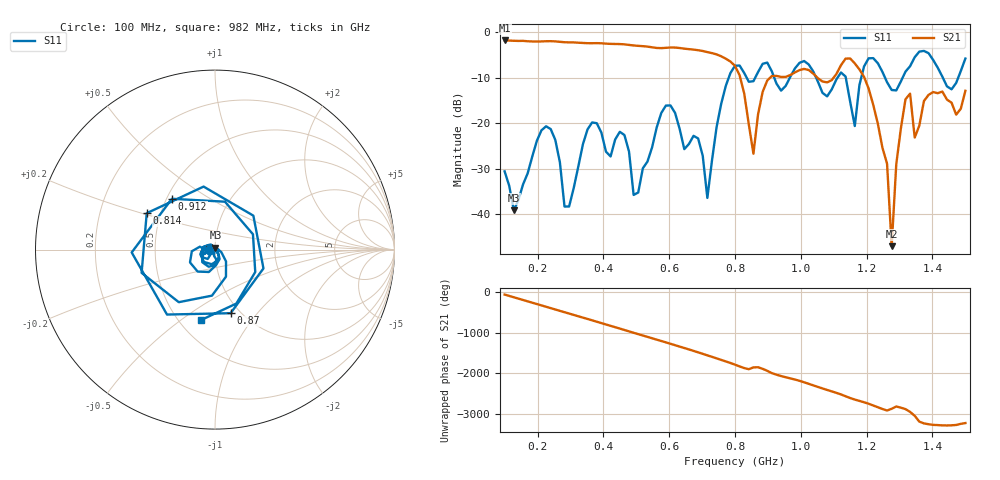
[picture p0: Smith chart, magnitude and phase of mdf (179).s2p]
! NanoVNA-App
! Date: 2025-09-26 09:41:08
! Start: 100MHz Stop: 1,5GHz Points: 101
! S-Parameter data: F S11 S21 S12 S22
# Hz S RI R 50
!  Frequency  S11_Real  S11_Imag  S21_Real  S21_Imag  S12_Real  S12_Imag  S22_Real  S22_Imag
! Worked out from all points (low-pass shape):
!   101 points, 100 MHz to 1.5 GHz, reference 50 ohm
!   highest |S21| = -1.79 dB at 100 MHz (marker M1); lowest = -47.1 dB at 1.276 GHz (marker M2)
!   |S21| within 3 dB of the highest: start of sweep to 740.5 MHz
!   lowest |S11| = -39.2 dB at 128 MHz (marker M3), VSWR 1.02, Z = 50.3 + j1.07 ohm
!   |S11| at or under -10 dB: start of sweep to 780.9 MHz; 1.046 GHz to 1.111 GHz (65.01 MHz wide, 6.03 % of centre); 1.256 GHz to 1.309 GHz (53.38 MHz wide, 4.16 % of centre)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
!   S12 and S22 are empty: the file has one direction only
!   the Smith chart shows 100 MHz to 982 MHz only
!   S11 on the Smith chart (normalised r, x): 100 MHz: 0.94, -0.01; 814 MHz: 0.42, +0.21; 870 MHz: 0.90, -0.74; 912 MHz: 0.53, +0.35; 982 MHz: 0.64, -0.60
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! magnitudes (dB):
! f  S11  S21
! 100 MHz  -30.6  -1.8
! 128 MHz  -39.2  -1.9
! 212 MHz  -21.6  -2.0
! 282 MHz  -38.4  -2.2
! 338 MHz  -24.6  -2.3
! 464 MHz  -22.6  -2.6
! 492 MHz  -35.8  -2.9
! 576 MHz  -17.8  -3.5
! 716 MHz  -36.5  -4.4
! 800 MHz  -7.4  -7.4
! 814 MHz  -7.3  -9.5
! 856 MHz  -10.8  -26.7
! 870 MHz  -8.8  -18.1
! 912 MHz  -8.6  -9.6
! 982 MHz  -8.0  -8.8
! 1.038 GHz  -8.6  -9.1
! 1.164 GHz  -20.6  -6.8
! 1.192 GHz  -7.5  -9.8
! 1.262 GHz  -11.0  -28.9
! 1.276 GHz  -12.7  -47.1
! 1.318 GHz  -8.7  -14.7
! 1.5 GHz  -5.8  -12.9
